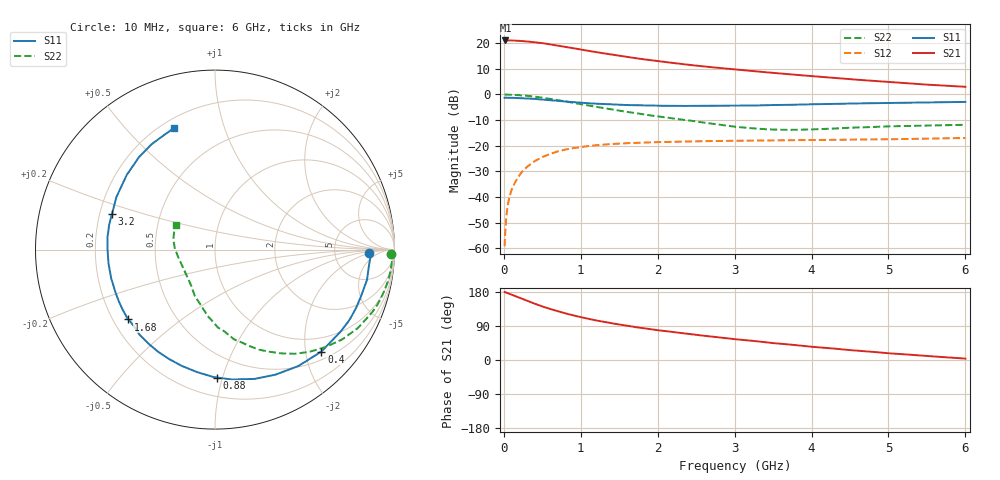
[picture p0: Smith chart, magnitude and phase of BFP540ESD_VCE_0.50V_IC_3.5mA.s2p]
! Infineon Technologies  Discrete & RF Semiconductors
! BFP540ESD
! VCE = 0.50 V,  IC =  3.5 mA
! Common Emitter S-Parameters:  Nov 2015
# GHz  S  MA  R  50
!  f  S11  S21  S12  S22
! GHz  MAG  ANG  MAG  ANG  MAG  ANG  MAG  ANG
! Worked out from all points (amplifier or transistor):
!   210 points, 10 MHz to 6 GHz, reference 50 ohm
!   highest |S21| = 21.1 dB at 20 MHz (marker M1)
!   |S21| within 3 dB of that: start of sweep to 896.4 MHz
!   unconditionally stable (mu >= 1): 3.711 GHz to end of sweep
!   at 185 MHz: K = 0.03, MSG = 26.6 dB, |S12| = -32.3 dB
!   at 1.52 GHz: K = 0.41, MSG = 17.1 dB, |S12| = -19.1 dB
!   at 6 GHz: K = 1.29, MAG = 6.7 dB, |S12| = -17.0 dB
!   S11 on the Smith chart (normalised r, x): 10 MHz: 13, -2; 400 MHz: 0.67, -2.32; 880 MHz: 0.33, -0.96; 1.68 GHz: 0.26, -0.33; 3.2 GHz: 0.25, +0.16; 6 GHz: 0.25, +0.69
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0.01  0.8592 -1.1  11.3 179.2  0.0011 108.4  0.9786 -1.4
0.02  0.8675 -2.5  11.3 178.9  0.0023 90.6  0.9959 -1.5
0.06  0.8621 -6.8  11.27 175.3  0.0082 86.5  0.9871 -4.4
0.15  0.8558 -16.7  11.24 168.2  0.0198 81.0  0.978 -11.0
0.3  0.8355 -33.3  10.83 156.2  0.0385 73.0  0.9423 -21.8
0.4  0.8208 -43.8  10.42 148.7  0.0499 67.6  0.9087 -28.7
0.5  0.7979 -54.4  10.03 141.3  0.0602 62.4  0.867 -35.3
0.6  0.774 -64.2  9.481 134.6  0.0689 57.2  0.822 -41.3
0.8  0.7298 -82.6  8.489 122.9  0.0843 48.7  0.7317 -52.5
0.88  0.713 -89.0  8.079 118.8  0.0885 45.5  0.6964 -56.2
1.02  0.6859 -99.7  7.424 112.2  0.0954 41.2  0.6391 -62.6
1.2  0.6612 -112.8  6.683 104.4  0.1023 35.5  0.5739 -70.0
1.3  0.6518 -118.9  6.334 100.8  0.1055 33.1  0.5417 -73.5
1.5  0.6338 -131.5  5.677 93.6  0.1098 28.7  0.4832 -80.7
1.68  0.6195 -141.1  5.192 87.9  0.1132 25.4  0.439 -86.9
2.02  0.6029 -157.3  4.444 78.1  0.1177 20.7  0.3713 -96.3
2.6  0.5989 179.9  3.517 64.0  0.1225 14.2  0.2826 -113.5
3.1  0.6058 163.7  2.981 53.2  0.1254 10.7  0.2276 -129.0
3.2  0.6075 160.7  2.889 51.2  0.126 10.1  0.2207 -132.9
4.1  0.6466 137.8  2.217 33.4  0.1295 4.4  0.2109 -170.6
5.1  0.687 119.7  1.713 16.5  0.1343 0.6  0.2402 164.4
6  0.7155 108.4  1.41 3.7  0.1417 -1.5  0.2566 147.0
